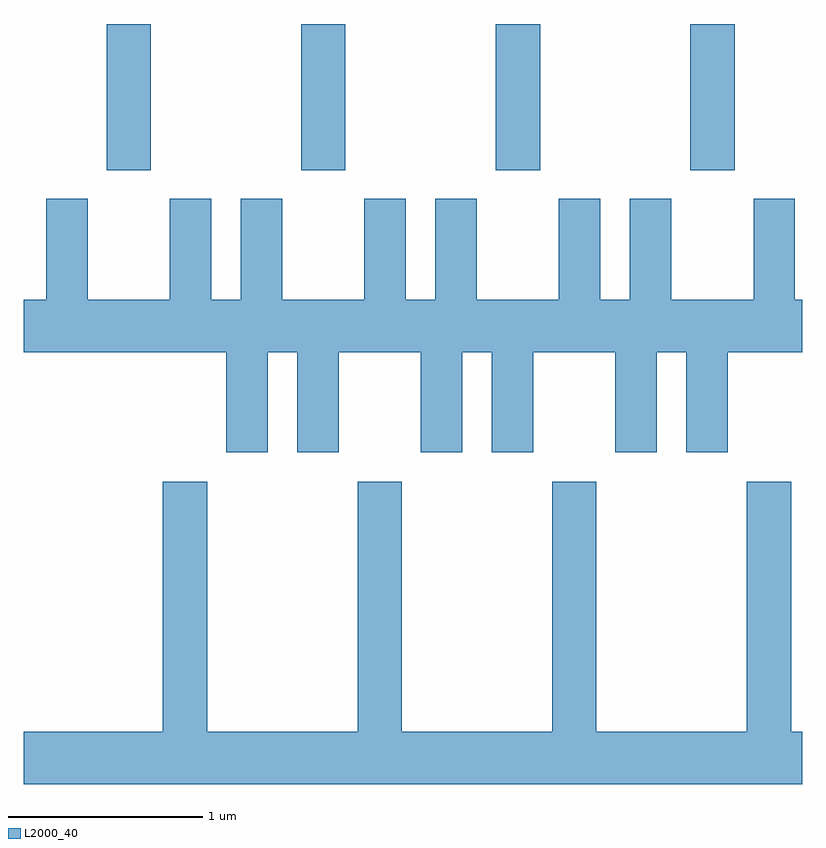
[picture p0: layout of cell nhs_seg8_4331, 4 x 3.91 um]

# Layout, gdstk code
import gdstk
lib = gdstk.Library(unit=1e-6, precision=1e-09)
def R(c, l, rs):  # rectangles x0, y0, x1, y1
    for r in rs: c.add(gdstk.rectangle(r[:2], r[2:], *l))
def A(c, l, x, y, w, h, nx, ny, dx, dy):  # array of equal rectangles
    R(c, l, [(x+i*dx, y+j*dy, x+i*dx+w, y+j*dy+h) for i in range(nx) for j in range(ny)])
def P(c, l, *ps):  # polygons
    for p in ps: c.add(gdstk.Polygon(p, *l))
L2000_40 = (2000, 40)

nhs_seg8_4331 = lib.new_cell('nhs_seg8_4331')
A(nhs_seg8_4331, L2000_40, 316.036, 1819.591, 0.228, 0.751, 4, 1, 1, 0)
P(nhs_seg8_4331, L2000_40, [(316.864,1818.656),(317.016,1818.656),(317.016,1818.141),(317.229,1818.141),(317.229,1818.656),(317.651,1818.656),(317.651,1818.141),(317.864,1818.141),(317.864,1818.656),(318.016,1818.656),(318.016,1818.141),(318.229,1818.141),(318.229,1818.656),(318.651,1818.656),(318.651,1818.141),(318.864,1818.141),(318.864,1818.656),(319.016,1818.656),(319.016,1818.141),(319.229,1818.141),(319.229,1818.656),(319.611,1818.656),(319.611,1818.924),(319.574,1818.924),(319.574,1819.444),(319.361,1819.444),(319.361,1818.924),(318.939,1818.924),(318.939,1819.444),(318.726,1819.444),(318.726,1818.924),(318.574,1818.924),(318.574,1819.444),(318.361,1819.444),(318.361,1818.924),(317.939,1818.924),(317.939,1819.444),(317.726,1819.444),(317.726,1818.924),(317.574,1818.924),(317.574,1819.444),(317.361,1819.444),(317.361,1818.924),(316.939,1818.924),(316.939,1819.444),(316.726,1819.444),(316.726,1818.924),(316.574,1818.924),(316.574,1819.444),(316.361,1819.444),(316.361,1818.924),(315.939,1818.924),(315.939,1819.444),(315.726,1819.444),(315.726,1818.924),(315.611,1818.924),(315.611,1818.656),(316.651,1818.656),(316.651,1818.141),(316.864,1818.141)],
  [(319.611,1816.704),(319.554,1816.704),(319.554,1817.989),(319.326,1817.989),(319.326,1816.704),(318.554,1816.704),(318.554,1817.989),(318.326,1817.989),(318.326,1816.704),(317.554,1816.704),(317.554,1817.989),(317.326,1817.989),(317.326,1816.704),(316.554,1816.704),(316.554,1817.989),(316.326,1817.989),(316.326,1816.704),(315.611,1816.704),(315.611,1816.436),(319.611,1816.436)])

lib.write_gds('nhs_seg8_4331.gds')
